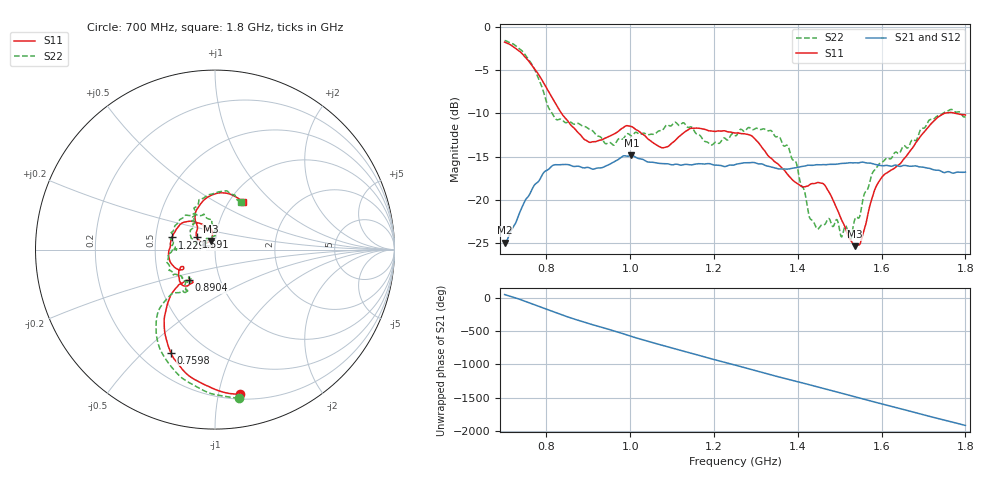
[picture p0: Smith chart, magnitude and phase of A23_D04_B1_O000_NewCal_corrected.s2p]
! Created with skrf 1.9.0 (http://scikit-rf.org).
# Hz S RI R 50.0
!freq ReS11 ImS11 ReS21 ImS21 ReS12 ImS12 ReS22 ImS22
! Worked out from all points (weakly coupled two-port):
!   1601 points, 700 MHz to 1.8 GHz, reference 50 ohm
!   highest |S21| = -14.85 dB at 1.002 GHz (marker M1); lowest = -25.0 dB at 700.7 MHz (marker M2)
!   lowest |S11| = -25.4 dB at 1.536 GHz (marker M3), VSWR 1.11, Z = 47.5 + j4.63 ohm
!   |S11| at or under -10 dB: 836 MHz to 1.749 GHz (912.8 MHz wide, 70.6 % of centre); 1.779 GHz to end of sweep
!   |S22| runs from -24.7 to -1.5 dB; largest |S21 - S12| = 0.0032
!   S11 on the Smith chart (normalised r, x): 700 MHz: 0.24, -1.16; 759.8 MHz: 0.32, -0.61; 890.4 MHz: 0.71, -0.26; 1.229 GHz: 0.61, +0.09; 1.591 GHz: 0.81, +0.12; 1.8 GHz: 1.16, +0.68
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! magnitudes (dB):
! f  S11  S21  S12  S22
! 700 MHz  -1.7  -25.0  -24.8  -1.5
! 700.7 MHz  -1.8  -25.0  -24.7  -1.6
! 759.8 MHz  -4.1  -19.3  -19.2  -3.9
! 819.6 MHz  -8.7  -15.9  -16.0  -10.5
! 883.6 MHz  -12.6  -16.2  -16.1  -11.4
! 890.4 MHz  -13.0  -16.3  -16.3  -11.5
! 942.7 MHz  -12.8  -16.1  -16.1  -13.5
! 1.002 GHz  -11.5  -14.9  -15.0  -12.6
! 1.067 GHz  -13.8  -15.8  -15.7  -12.0
! 1.229 GHz  -12.1  -16.1  -16.0  -13.0
! 1.25 GHz  -12.3  -15.9  -15.9  -12.5
! 1.356 GHz  -16.0  -16.4  -16.4  -12.7
! 1.396 GHz  -18.0  -16.3  -16.3  -15.7
! 1.434 GHz  -18.1  -16.0  -16.0  -22.3
! 1.467 GHz  -18.5  -15.9  -15.9  -22.7
! 1.524 GHz  -24.5  -15.7  -15.7  -24.7
! 1.536 GHz  -25.4  -15.7  -15.7  -22.3
! 1.551 GHz  -24.7  -15.6  -15.7  -21.1
! 1.591 GHz  -18.1  -16.0  -15.9  -16.1
! 1.617 GHz  -16.7  -16.1  -16.0  -15.2
! 1.735 GHz  -10.4  -16.6  -16.6  -10.2
! 1.8 GHz  -10.2  -16.8  -16.8  -10.3
